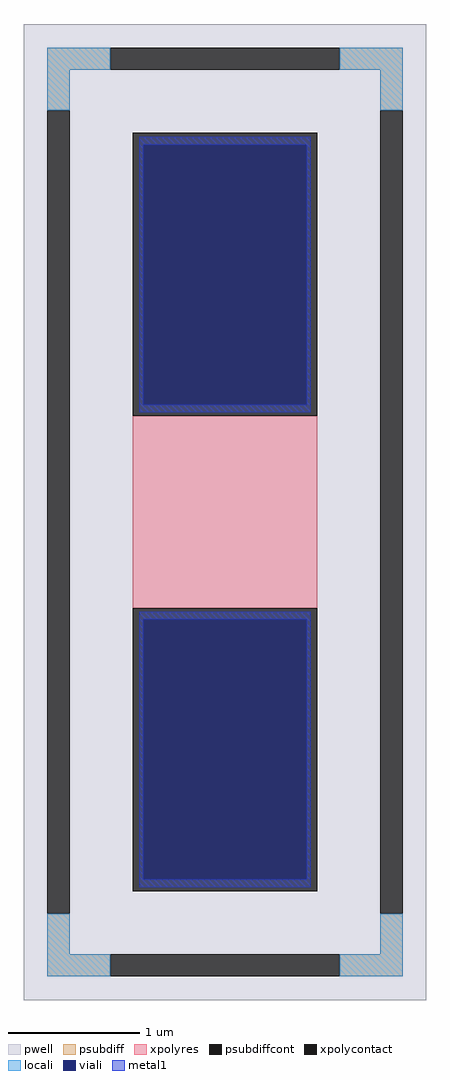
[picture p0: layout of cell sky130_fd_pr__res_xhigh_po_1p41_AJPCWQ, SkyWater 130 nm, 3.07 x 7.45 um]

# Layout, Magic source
magic
tech sky130A
magscale 1 2
<< pwell >>
rect -307 -745 307 745
<< psubdiff >>
rect -271 675 -175 709
rect 175 675 271 709
rect -271 613 -237 675
rect 237 613 271 675
rect -271 -675 -237 -613
rect 237 -675 271 -613
rect -271 -709 -175 -675
rect 175 -709 271 -675
<< psubdiffcont >>
rect -175 675 175 709
rect -271 -613 -237 613
rect 237 -613 271 613
rect -175 -709 175 -675
<< xpolycontact >>
rect -141 147 141 579
rect -141 -579 141 -147
<< xpolyres >>
rect -141 -147 141 147
<< locali >>
rect -271 675 -175 709
rect 175 675 271 709
rect -271 613 -237 675
rect 237 613 271 675
rect -271 -675 -237 -613
rect 237 -675 271 -613
rect -271 -709 -175 -675
rect 175 -709 271 -675
<< viali >>
rect -125 164 125 561
rect -125 -561 125 -164
<< metal1 >>
rect -131 561 131 573
rect -131 164 -125 561
rect 125 164 131 561
rect -131 152 131 164
rect -131 -164 131 -152
rect -131 -561 -125 -164
rect 125 -561 131 -164
rect -131 -573 131 -561
<< properties >>
string FIXED_BBOX -254 -692 254 692
string gencell sky130_fd_pr__res_xhigh_po_1p41
string library sky130
string parameters w 1.410 l 1.63 m 1 nx 1 wmin 1.410 lmin 0.50 rho 2000 val 2.579k dummy 0 dw 0.0 term 188.2 sterm 0.0 caplen 0 wmax 1.410 guard 1 glc 1 grc 1 gtc 1 gbc 1 compatible {sky130_fd_pr__res_xhigh_po_0p35  sky130_fd_pr__res_xhigh_po_0p69 sky130_fd_pr__res_xhigh_po_1p41  sky130_fd_pr__res_xhigh_po_2p85 sky130_fd_pr__res_xhigh_po_5p73} snake 0 full_metal 1 n_guard 0 hv_guard 0 vias 1 viagb 0 viagt 0 viagl 0 viagr 0
<< end >>
